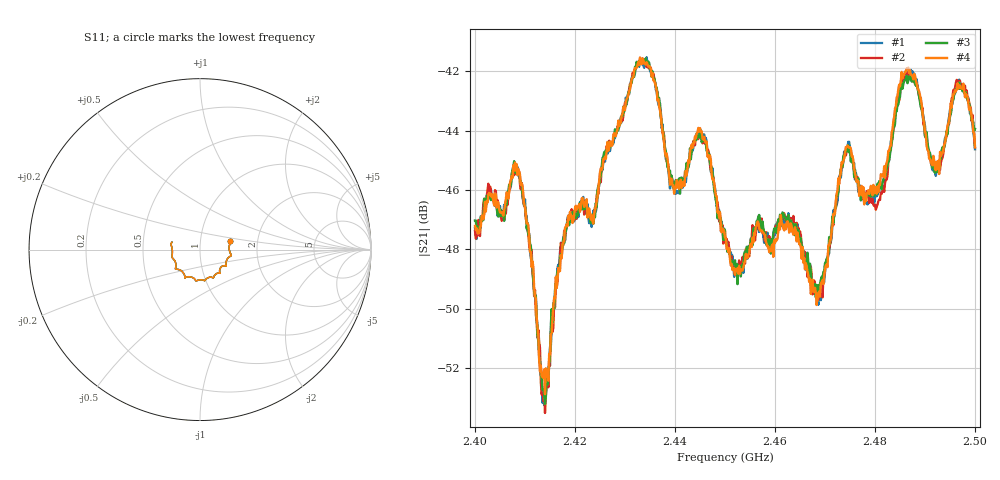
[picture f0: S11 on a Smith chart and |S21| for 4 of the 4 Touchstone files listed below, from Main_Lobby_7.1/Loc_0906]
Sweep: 2.4 GHz to 2.5 GHz
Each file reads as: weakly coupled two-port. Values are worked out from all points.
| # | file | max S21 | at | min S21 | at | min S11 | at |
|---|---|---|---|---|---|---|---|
| 1 | Lab_139_3Ch1.s2p | -41.53 dB | 2.4343 GHz | -53.2 dB | 2.4138 GHz | -15.9 dB | 2.4258 GHz |
| 2 | Lab_139_6Ch1.s2p | -41.57 dB | 2.4335 GHz | -53.5 dB | 2.414 GHz | -15.9 dB | 2.4257 GHz |
| 3 | Lab_139_7Ch1.s2p | -41.57 dB | 2.4342 GHz | -53.2 dB | 2.414 GHz | -15.9 dB | 2.4258 GHz |
| 4 | Lab_139_9Ch1.s2p | -41.54 dB | 2.433 GHz | -52.9 dB | 2.414 GHz | -15.9 dB | 2.4257 GHz |
